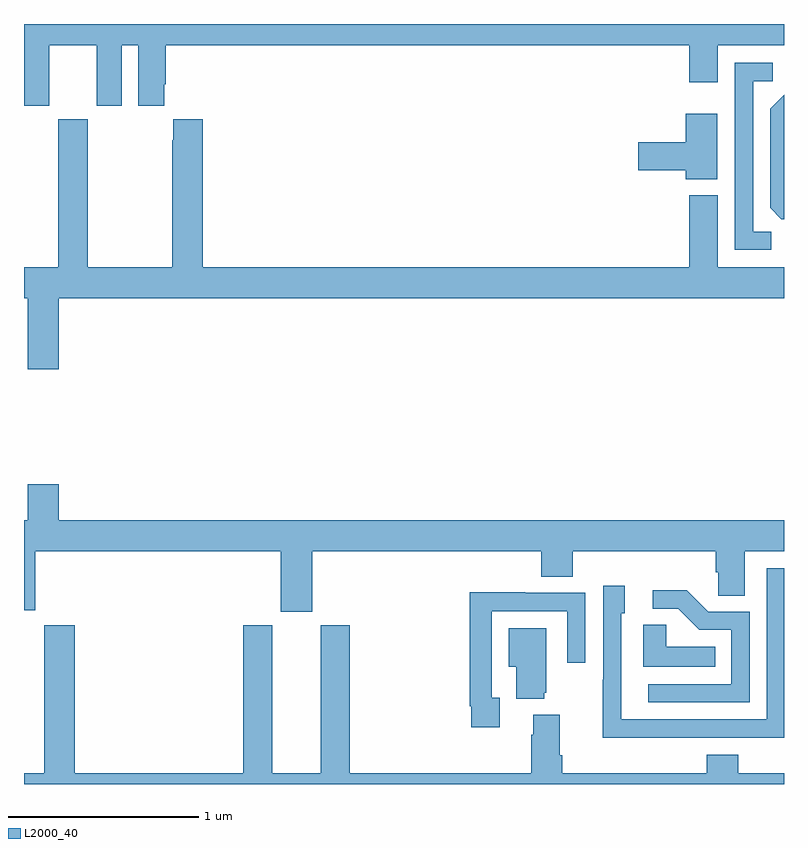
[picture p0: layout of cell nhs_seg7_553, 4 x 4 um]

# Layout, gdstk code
import gdstk
lib = gdstk.Library(unit=1e-6, precision=1e-09)
def P(c, l, *ps):  # polygons
    for p in ps: c.add(gdstk.Polygon(p, *l))
L2000_40 = (2000, 40)

nhs_seg7_553 = lib.new_cell('nhs_seg7_553')
P(nhs_seg7_553, L2000_40, [(153.133,1061.888),(153.383,1061.888),(153.383,1061.571),(153.514,1061.571),(153.514,1061.888),(153.602,1061.888),(153.602,1061.571),(153.739,1061.571),(153.739,1061.683),(153.746,1061.683),(153.746,1061.888),(156.5,1061.888),(156.5,1061.694),(156.652,1061.694),(156.652,1061.888),(157,1061.888),(157,1062),(153,1062),(153,1061.888),(153.002,1061.888),(153.002,1061.571),(153.133,1061.571)],
  [(156.933,1060.907),(156.837,1060.907),(156.837,1061.7),(156.94,1061.7),(156.94,1061.796),(156.741,1061.796),(156.741,1060.812),(156.933,1060.812)],
  [(157,1061.628),(156.927,1061.554),(156.927,1061.032),(156.986,1060.973),(157,1060.973)],
  [(156.649,1061.527),(156.482,1061.527),(156.482,1061.378),(156.234,1061.378),(156.234,1061.231),(156.482,1061.231),(156.482,1061.183),(156.649,1061.183)],
  [(153.184,1060.556),(157,1060.556),(157,1060.72),(156.652,1060.72),(156.652,1061.098),(156.5,1061.098),(156.5,1060.72),(153.941,1060.72),(153.941,1061.5),(153.785,1061.5),(153.785,1061.387),(153.781,1061.387),(153.781,1060.72),(153.336,1060.72),(153.336,1061.5),(153.181,1061.5),(153.181,1060.72),(153,1060.72),(153,1060.556),(153.02,1060.556),(153.02,1060.182),(153.184,1060.182)],
  [(153.02,1059.388),(153,1059.388),(153,1058.915),(153.058,1058.915),(153.058,1059.224),(154.352,1059.224),(154.352,1058.907),(154.516,1058.907),(154.516,1059.224),(155.723,1059.224),(155.723,1059.091),(155.888,1059.091),(155.888,1059.224),(156.641,1059.224),(156.641,1059.115),(156.654,1059.115),(156.654,1058.992),(156.793,1058.992),(156.793,1059.224),(157,1059.224),(157,1059.388),(153.184,1059.388),(153.184,1059.577),(153.02,1059.577)],
  [(156.509,1058.244),(157,1058.244),(157,1059.135),(156.909,1059.135),(156.909,1058.34),(156.144,1058.34),(156.144,1058.898),(156.163,1058.898),(156.163,1059.043),(156.048,1059.043),(156.048,1058.549),(156.046,1058.549),(156.046,1058.243),(156.509,1058.243)],
  [(156.819,1058.907),(156.6,1058.907),(156.487,1059.02),(156.309,1059.02),(156.309,1058.922),(156.443,1058.922),(156.554,1058.811),(156.723,1058.811),(156.723,1058.526),(156.285,1058.526),(156.285,1058.43),(156.819,1058.43)],
  [(155.503,1058.454),(155.463,1058.454),(155.463,1058.91),(155.859,1058.91),(155.859,1058.637),(155.955,1058.637),(155.955,1059.006),(155.639,1059.006),(155.639,1059.008),(155.347,1059.008),(155.347,1058.41),(155.355,1058.41),(155.355,1058.298),(155.503,1058.298)],
  [(156.638,1058.722),(156.381,1058.722),(156.381,1058.837),(156.26,1058.837),(156.26,1058.618),(156.638,1058.618)],
  [(155.834,1058.152),(155.821,1058.152),(155.821,1058.365),(155.681,1058.365),(155.681,1058.258),(155.669,1058.258),(155.669,1058.056),(154.715,1058.056),(154.715,1058.835),(154.562,1058.835),(154.562,1058.056),(154.306,1058.056),(154.306,1058.835),(154.154,1058.835),(154.154,1058.056),(153.266,1058.056),(153.266,1058.836),(153.106,1058.836),(153.106,1058.056),(153,1058.056),(153,1058),(157,1058),(157,1058.056),(156.758,1058.056),(156.758,1058.155),(156.593,1058.155),(156.593,1058.056),(155.834,1058.056)],
  [(155.738,1058.481),(155.749,1058.481),(155.749,1058.821),(155.552,1058.821),(155.552,1058.618),(155.591,1058.618),(155.591,1058.45),(155.738,1058.45)])

lib.write_gds('nhs_seg7_553.gds')
